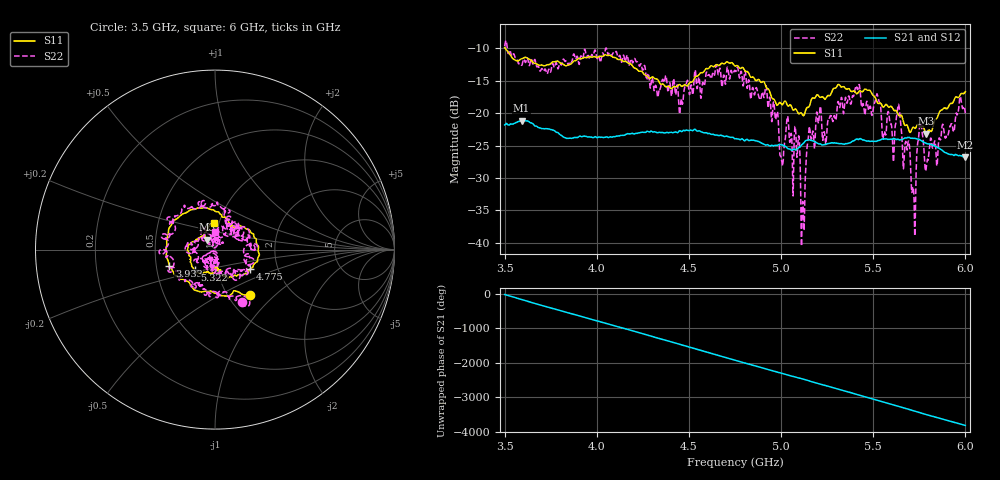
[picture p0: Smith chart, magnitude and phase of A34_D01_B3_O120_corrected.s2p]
! Created with skrf 1.9.0 (http://scikit-rf.org).
# Hz S RI R 50.0
!freq ReS11 ImS11 ReS21 ImS21 ReS12 ImS12 ReS22 ImS22
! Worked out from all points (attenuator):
!   1601 points, 3.5 GHz to 6 GHz, reference 50 ohm
!   highest |S21| = -21.14 dB at 3.592 GHz (marker M1); lowest = -26.8 dB at 6 GHz (marker M2)
!   lowest |S11| = -23.2 dB at 5.787 GHz (marker M3), VSWR 1.15, Z = 45.6 + j5.01 ohm
!   |S11| at or under -10 dB: 3.504 GHz to end of sweep
!   |S22| runs from -40.6 to -8.8 dB; largest |S21 - S12| = 0.0012
!   S11 on the Smith chart (normalised r, x): 3.5 GHz: 1.26, -0.71; 3.933 GHz: 0.59, -0.11; 4.775 GHz: 1.44, -0.33; 5.322 GHz: 0.78, -0.18; 6 GHz: 0.95, +0.28
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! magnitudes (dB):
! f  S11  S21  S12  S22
! 3.5 GHz  -9.9  -21.8  -21.8  -9.6
! 3.592 GHz  -11.6  -21.1  -21.2  -12.6
! 3.917 GHz  -11.6  -23.6  -23.6  -11.2
! 3.933 GHz  -11.4  -23.5  -23.5  -10.2
! 4.334 GHz  -15.0  -23.0  -22.9  -17.1
! 4.75 GHz  -12.7  -24.0  -23.9  -13.4
! 4.775 GHz  -13.0  -24.1  -24.1  -14.6
! 4.969 GHz  -18.2  -25.0  -24.9  -20.9
! 5.003 GHz  -18.6  -24.9  -24.9  -27.4
! 5.031 GHz  -18.6  -25.3  -25.3  -21.0
! 5.086 GHz  -19.6  -25.6  -25.6  -26.8
! 5.119 GHz  -20.4  -24.7  -24.7  -33.7
! 5.145 GHz  -19.1  -24.2  -24.1  -24.3
! 5.167 GHz  -17.7  -24.2  -24.2  -23.7
! 5.322 GHz  -15.8  -24.7  -24.7  -18.6
! 5.584 GHz  -19.1  -24.0  -24.0  -20.0
! 5.611 GHz  -19.5  -23.9  -23.9  -27.2
! 5.641 GHz  -20.4  -24.1  -24.1  -19.1
! 5.717 GHz  -22.2  -23.9  -23.9  -31.4
! 5.752 GHz  -22.0  -24.1  -24.1  -21.9
! 5.787 GHz  -23.2  -24.7  -24.6  -28.5
! 6 GHz  -16.7  -26.8  -26.8  -20.0
